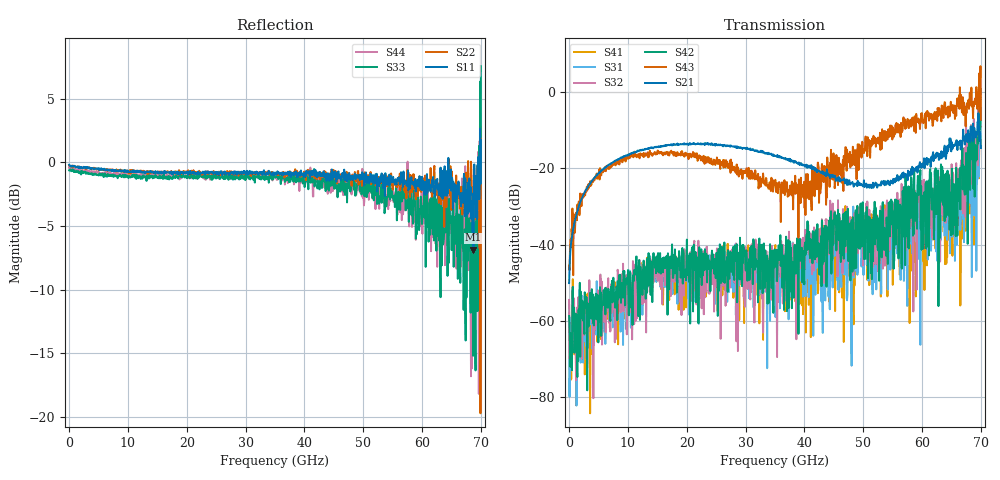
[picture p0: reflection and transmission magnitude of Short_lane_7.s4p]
!Pstart = -2.000000E+001
!Pstop = -1.000000E+001
!Pstep = 2.564103E-001
! 4/30/2026 12:38:37 PM
! C:\ANRITSUVNA\TEMP\TEMP.S4P
! CHANNEL.1
! TR.MEASUREMENT
! CORRECTED.DATA
! RF.CORRECTION: FULL.FOUR.PORT.CAL.PORT.1.2.3.4
! AVERAGING.OFF
! IF.BANDWIDTH: 100HZ
! SWEEPTYPE:  FREQ.SWEEP(Linear)
! Reference Plane Port Info
! DISTANCE:  0  m  0  m  0  m  0  m
! TIME:  0  s  0  s  0  s  0  s
! PHASE.OFFSET:  0 °  0 °  0 °  0 °
! LOSS:  0  dB  0  dB  0  dB  0  dB
! REF.LOSS:  0  dB  0  dB  0  dB  0  dB
! REF.FREQ:  0  Hz  0  Hz  0  Hz  0  Hz
! Power Info
! POWER:  -20  dBm  -20  dBm  -20  dBm  -20  dBm
! EFF.POWER:  -20  dBm  -20  dBm  -40  dBm  -40  dBm
! SOURCE.ATTEN:  0  dB  0  dB  20  dB  20  dB
! TEST.ATTEN:  0  dB  0  dB  20  dB  20  dB
! Created with skrf 1.9.0 (http://scikit-rf.org).
# Hz S RI R 50.0
!freq ReS11 ImS11 ReS12 ImS12 ReS13 ImS13
! ReS14 ImS14
! ReS21 ImS21 ReS22 ImS22 ReS23 ImS23
! ReS24 ImS24
! ReS31 ImS31 ReS32 ImS32 ReS33 ImS33
! ReS34 ImS34
! ReS41 ImS41 ReS42 ImS42 ReS43 ImS43
! ReS44 ImS44
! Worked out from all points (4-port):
!   1001 points, 10 MHz to 70 GHz, reference 50 ohm
!   strongest paths, dB at 10 MHz, 17.51 GHz, 35.01 GHz, 52.5 GHz, 70 GHz:
!     S21: -50.1, -14.1, -16.8, -24.4, -14.7
!     S43: -45.5, -16.1, -23.3, -12.0, -7.3
!     S42: -58.7, -40.0, -43.1, -41.5, -4.4
!     S32: -54.5, -48.2, -42.6, -41.4, 0.9
!     S31: -55.8, -51.4, -43.2, -40.0, -5.9
!     S41: -57.8, -50.3, -40.8, -46.9, -9.1
!   lowest |S11| = -6.9 dB at 68.74 GHz (marker M1), VSWR 2.66, Z = 129 - j22.1 ohm
!   |S11| at or under -10 dB: nowhere
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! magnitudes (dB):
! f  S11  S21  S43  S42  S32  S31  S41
! 10 MHz  -0.2  -50.1  -45.5  -58.7  -54.5  -55.8  -57.8
! 3.02 GHz  -0.5  -25.4  -24.8  -56.2  -61.9  -70.1  -59.5
! 11.91 GHz  -0.7  -15.4  -16.9  -44.1  -44.6  -47.2  -48.3
! 38.99 GHz  -1.0  -18.9  -38.2  -63.4  -45.1  -48.8  -48.1
! 65.87 GHz  -2.8  -12.7  -3.9  -31.6  -24.1  -40.1  -26.9
! 68.74 GHz  -6.9  -11.9  -2.8  -25.4  -11.0  -30.5  -24.3
! 70 GHz  1.8  -14.7  -7.3  -4.4  0.9  -5.9  -9.1
